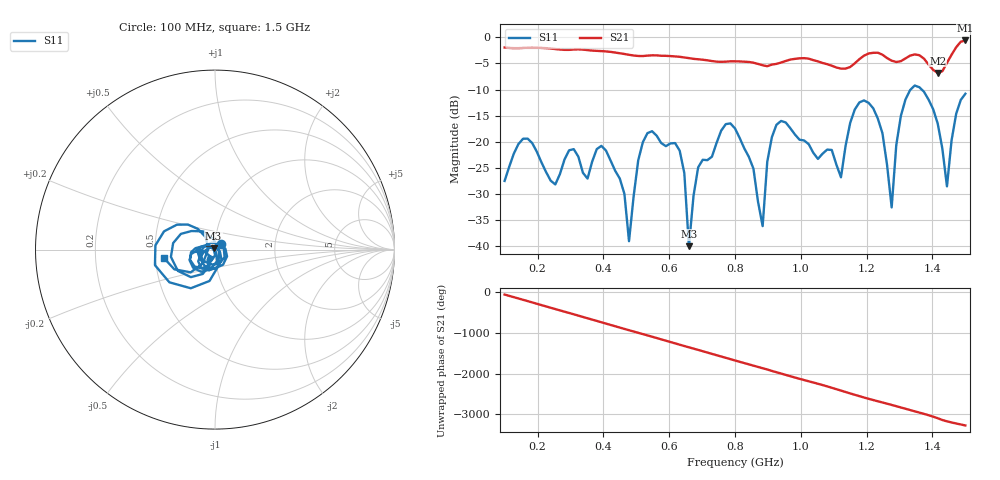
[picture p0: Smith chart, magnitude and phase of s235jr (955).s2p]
! NanoVNA-App
! Date: 2025-09-25 15:11:36
! Start: 100MHz Stop: 1,5GHz Points: 101
! S-Parameter data: F S11 S21 S12 S22
# Hz S RI R 50
!  Frequency  S11_Real  S11_Imag  S21_Real  S21_Imag  S12_Real  S12_Imag  S22_Real  S22_Imag
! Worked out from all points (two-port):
!   101 points, 100 MHz to 1.5 GHz, reference 50 ohm
!   highest |S21| = -0.62 dB at 1.5 GHz (marker M1); lowest = -6.8 dB at 1.416 GHz (marker M2)
!   |S21| within 3 dB of the highest: start of sweep to 606.6 MHz; 1.19 GHz to 1.254 GHz (63.92 MHz wide, 5.23 % of centre) (the widest 2 of 4)
!   lowest |S11| = -39.9 dB at 660 MHz (marker M3), VSWR 1.02, Z = 49.2 + j0.611 ohm
!   |S11| at or under -10 dB: start of sweep to 1.334 GHz; 1.367 GHz to end of sweep
!   S12 and S22 are empty: the file has one direction only
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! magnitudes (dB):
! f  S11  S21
! 100 MHz  -27.5  -2.0
! 156 MHz  -19.4  -2.0
! 338 MHz  -25.9  -2.4
! 408 MHz  -21.7  -2.7
! 478 MHz  -39.0  -3.4
! 520 MHz  -20.1  -3.6
! 576 MHz  -20.2  -3.5
! 632 MHz  -21.7  -3.7
! 660 MHz  -39.9  -4.0
! 688 MHz  -24.9  -4.2
! 800 MHz  -17.4  -4.6
! 884 MHz  -36.1  -5.4
! 926 MHz  -16.7  -5.1
! 1.038 GHz  -22.1  -4.4
! 1.122 GHz  -26.8  -6.0
! 1.206 GHz  -12.5  -3.1
! 1.276 GHz  -32.5  -4.5
! 1.29 GHz  -20.6  -4.7
! 1.332 GHz  -10.1  -3.5
! 1.416 GHz  -16.5  -6.8
! 1.444 GHz  -28.5  -4.9
! 1.5 GHz  -10.8  -0.6
